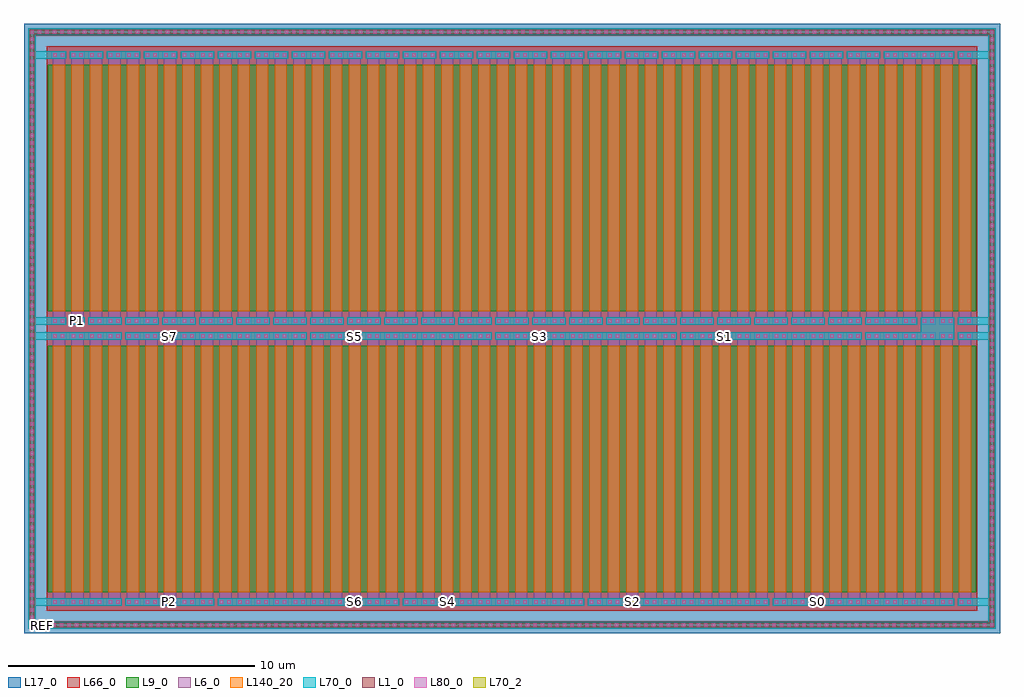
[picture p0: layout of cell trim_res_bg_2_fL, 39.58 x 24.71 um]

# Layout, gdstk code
from math import pi, radians
import gdstk
lib = gdstk.Library(unit=1e-6, precision=1e-09)
def R(c, l, rs):  # rectangles x0, y0, x1, y1
    for r in rs: c.add(gdstk.rectangle(r[:2], r[2:], *l))
def A(c, l, x, y, w, h, nx, ny, dx, dy):  # array of equal rectangles
    R(c, l, [(x+i*dx, y+j*dy, x+i*dx+w, y+j*dy+h) for i in range(nx) for j in range(ny)])
L1_0 = (1, 0)
L6_0 = (6, 0)
L9_0 = (9, 0)
L17_0 = (17, 0)
L66_0 = (66, 0)
L70_0 = (70, 0)
L70_2 = (70, 2)
L80_0 = (80, 0)
L140_20 = (140, 20)

contact_cdns_78158792569 = lib.new_cell('Contact_CDNS_781587925691')
R(contact_cdns_78158792569, L6_0, [(-0.02,-0.02,0.58,0.28)])
R(contact_cdns_78158792569, L70_0, [(-0.02,-0.02,0.58,0.28)])
R(contact_cdns_78158792569, L80_0, [(0.06,0.06,0.2,0.2), (0.36,0.06,0.5,0.2)])

rnpolyh_cdns_78158792569 = lib.new_cell('rnpolyh_CDNS_781587925690')
A(rnpolyh_cdns_78158792569, L6_0, 0, -0.24, 0.5, 0.24, 5, 2, 0.75, 10.24)
A(rnpolyh_cdns_78158792569, L6_0, 0, 0, 0.5, 10, 5, 1, 0.75, 0)
R(rnpolyh_cdns_78158792569, L9_0, [(-0.2,0,3.7,10)])
R(rnpolyh_cdns_78158792569, L17_0, [(-0.21,-0.7,3.71,10.7)])
R(rnpolyh_cdns_78158792569, L66_0, [(-0.25,-0.74,3.75,10.74)])
A(rnpolyh_cdns_78158792569, L70_0, -0.05, -0.54, 0.6, 0.3, 5, 2, 0.75, 10.78)
R(rnpolyh_cdns_78158792569, L70_0, [(-0.05,-0.54,3.55,-0.24), (-0.05,10.24,3.55,10.54)])
A(rnpolyh_cdns_78158792569, L140_20, 0, 0, 0.5, 10, 5, 1, 0.75, 0)
rnpolyh_cdns_78158792569.add(gdstk.Reference(contact_cdns_78158792569, (2.97,10.26)))
rnpolyh_cdns_78158792569.add(gdstk.Reference(contact_cdns_78158792569, (2.97,-0.52)))
rnpolyh_cdns_78158792569.add(gdstk.Reference(contact_cdns_78158792569, (2.22,10.26)))
rnpolyh_cdns_78158792569.add(gdstk.Reference(contact_cdns_78158792569, (2.22,-0.52)))
rnpolyh_cdns_78158792569.add(gdstk.Reference(contact_cdns_78158792569, (1.47,10.26)))
rnpolyh_cdns_78158792569.add(gdstk.Reference(contact_cdns_78158792569, (1.47,-0.52)))
rnpolyh_cdns_78158792569.add(gdstk.Reference(contact_cdns_78158792569, (0.72,10.26)))
rnpolyh_cdns_78158792569.add(gdstk.Reference(contact_cdns_78158792569, (0.72,-0.52)))
rnpolyh_cdns_78158792569.add(gdstk.Reference(contact_cdns_78158792569, (-0.03,10.26)))
rnpolyh_cdns_78158792569.add(gdstk.Reference(contact_cdns_78158792569, (-0.03,-0.52)))

c_rnpolyh_cdns_78158792569 = lib.new_cell('rnpolyh_CDNS_781587925692')
R(c_rnpolyh_cdns_78158792569, L6_0, [(0,-0.24,0.5,0), (0.75,-0.24,1.25,0), (0,0,0.5,10), (0.75,0,1.25,10), (0,10,0.5,10.24), (0.75,10,1.25,10.24)])
R(c_rnpolyh_cdns_78158792569, L9_0, [(-0.2,0,1.45,10)])
R(c_rnpolyh_cdns_78158792569, L17_0, [(-0.21,-0.7,1.46,10.7)])
R(c_rnpolyh_cdns_78158792569, L66_0, [(-0.25,-0.74,1.5,10.74)])
R(c_rnpolyh_cdns_78158792569, L70_0, [(-0.05,-0.54,0.55,-0.24), (-0.05,-0.54,1.3,-0.24), (0.7,-0.54,1.3,-0.24), (-0.05,10.24,0.55,10.54), (-0.05,10.24,1.3,10.54), (0.7,10.24,1.3,10.54)])
R(c_rnpolyh_cdns_78158792569, L140_20, [(0,0,0.5,10), (0.75,0,1.25,10)])
c_rnpolyh_cdns_78158792569.add(gdstk.Reference(contact_cdns_78158792569, (0.72,10.26)))
c_rnpolyh_cdns_78158792569.add(gdstk.Reference(contact_cdns_78158792569, (0.72,-0.52)))
c_rnpolyh_cdns_78158792569.add(gdstk.Reference(contact_cdns_78158792569, (-0.03,10.26)))
c_rnpolyh_cdns_78158792569.add(gdstk.Reference(contact_cdns_78158792569, (-0.03,-0.52)))

c_rnpolyh_cdns_78158792569_ = lib.new_cell('rnpolyh_CDNS_781587925693')
A(c_rnpolyh_cdns_78158792569_, L6_0, 0, -0.24, 0.5, 0.24, 44, 2, 0.75, 10.24)
A(c_rnpolyh_cdns_78158792569_, L6_0, 0, 0, 0.5, 10, 44, 1, 0.75, 0)
R(c_rnpolyh_cdns_78158792569_, L9_0, [(-0.2,0,32.95,10)])
R(c_rnpolyh_cdns_78158792569_, L17_0, [(-0.21,-0.7,32.96,10.7)])
R(c_rnpolyh_cdns_78158792569_, L66_0, [(-0.25,-0.74,33,10.74)])
A(c_rnpolyh_cdns_78158792569_, L70_0, -0.05, -0.54, 0.6, 0.3, 44, 2, 0.75, 10.78)
A(c_rnpolyh_cdns_78158792569_, L70_0, 0.7, -0.54, 1.35, 0.3, 21, 1, 1.5, 0)
A(c_rnpolyh_cdns_78158792569_, L70_0, -0.05, 10.24, 1.35, 0.3, 22, 1, 1.5, 0)
R(c_rnpolyh_cdns_78158792569_, L70_0, [(-0.05,-0.54,0.55,-0.24), (32.2,-0.54,32.8,-0.24)])
A(c_rnpolyh_cdns_78158792569_, L140_20, 0, 0, 0.5, 10, 44, 1, 0.75, 0)
c_rnpolyh_cdns_78158792569_.add(gdstk.Reference(contact_cdns_78158792569, (32.22,10.26)))
c_rnpolyh_cdns_78158792569_.add(gdstk.Reference(contact_cdns_78158792569, (32.22,-0.52)))
c_rnpolyh_cdns_78158792569_.add(gdstk.Reference(contact_cdns_78158792569, (31.47,10.26)))
c_rnpolyh_cdns_78158792569_.add(gdstk.Reference(contact_cdns_78158792569, (31.47,-0.52)))
c_rnpolyh_cdns_78158792569_.add(gdstk.Reference(contact_cdns_78158792569, (30.72,10.26)))
c_rnpolyh_cdns_78158792569_.add(gdstk.Reference(contact_cdns_78158792569, (30.72,-0.52)))
c_rnpolyh_cdns_78158792569_.add(gdstk.Reference(contact_cdns_78158792569, (29.97,10.26)))
c_rnpolyh_cdns_78158792569_.add(gdstk.Reference(contact_cdns_78158792569, (29.97,-0.52)))
c_rnpolyh_cdns_78158792569_.add(gdstk.Reference(contact_cdns_78158792569, (29.22,10.26)))
c_rnpolyh_cdns_78158792569_.add(gdstk.Reference(contact_cdns_78158792569, (29.22,-0.52)))
c_rnpolyh_cdns_78158792569_.add(gdstk.Reference(contact_cdns_78158792569, (28.47,10.26)))
c_rnpolyh_cdns_78158792569_.add(gdstk.Reference(contact_cdns_78158792569, (28.47,-0.52)))
c_rnpolyh_cdns_78158792569_.add(gdstk.Reference(contact_cdns_78158792569, (27.72,10.26)))
c_rnpolyh_cdns_78158792569_.add(gdstk.Reference(contact_cdns_78158792569, (27.72,-0.52)))
c_rnpolyh_cdns_78158792569_.add(gdstk.Reference(contact_cdns_78158792569, (26.97,10.26)))
c_rnpolyh_cdns_78158792569_.add(gdstk.Reference(contact_cdns_78158792569, (26.97,-0.52)))
c_rnpolyh_cdns_78158792569_.add(gdstk.Reference(contact_cdns_78158792569, (26.22,10.26)))
c_rnpolyh_cdns_78158792569_.add(gdstk.Reference(contact_cdns_78158792569, (26.22,-0.52)))
c_rnpolyh_cdns_78158792569_.add(gdstk.Reference(contact_cdns_78158792569, (25.47,10.26)))
c_rnpolyh_cdns_78158792569_.add(gdstk.Reference(contact_cdns_78158792569, (25.47,-0.52)))
c_rnpolyh_cdns_78158792569_.add(gdstk.Reference(contact_cdns_78158792569, (24.72,10.26)))
c_rnpolyh_cdns_78158792569_.add(gdstk.Reference(contact_cdns_78158792569, (24.72,-0.52)))
c_rnpolyh_cdns_78158792569_.add(gdstk.Reference(contact_cdns_78158792569, (23.97,10.26)))
c_rnpolyh_cdns_78158792569_.add(gdstk.Reference(contact_cdns_78158792569, (23.97,-0.52)))
c_rnpolyh_cdns_78158792569_.add(gdstk.Reference(contact_cdns_78158792569, (23.22,10.26)))
c_rnpolyh_cdns_78158792569_.add(gdstk.Reference(contact_cdns_78158792569, (23.22,-0.52)))
c_rnpolyh_cdns_78158792569_.add(gdstk.Reference(contact_cdns_78158792569, (22.47,10.26)))
c_rnpolyh_cdns_78158792569_.add(gdstk.Reference(contact_cdns_78158792569, (22.47,-0.52)))
c_rnpolyh_cdns_78158792569_.add(gdstk.Reference(contact_cdns_78158792569, (21.72,10.26)))
c_rnpolyh_cdns_78158792569_.add(gdstk.Reference(contact_cdns_78158792569, (21.72,-0.52)))
c_rnpolyh_cdns_78158792569_.add(gdstk.Reference(contact_cdns_78158792569, (20.97,10.26)))
c_rnpolyh_cdns_78158792569_.add(gdstk.Reference(contact_cdns_78158792569, (20.97,-0.52)))
c_rnpolyh_cdns_78158792569_.add(gdstk.Reference(contact_cdns_78158792569, (20.22,10.26)))
c_rnpolyh_cdns_78158792569_.add(gdstk.Reference(contact_cdns_78158792569, (20.22,-0.52)))
c_rnpolyh_cdns_78158792569_.add(gdstk.Reference(contact_cdns_78158792569, (19.47,10.26)))
c_rnpolyh_cdns_78158792569_.add(gdstk.Reference(contact_cdns_78158792569, (19.47,-0.52)))
c_rnpolyh_cdns_78158792569_.add(gdstk.Reference(contact_cdns_78158792569, (18.72,10.26)))
c_rnpolyh_cdns_78158792569_.add(gdstk.Reference(contact_cdns_78158792569, (18.72,-0.52)))
c_rnpolyh_cdns_78158792569_.add(gdstk.Reference(contact_cdns_78158792569, (17.97,10.26)))
c_rnpolyh_cdns_78158792569_.add(gdstk.Reference(contact_cdns_78158792569, (17.97,-0.52)))
c_rnpolyh_cdns_78158792569_.add(gdstk.Reference(contact_cdns_78158792569, (17.22,10.26)))
c_rnpolyh_cdns_78158792569_.add(gdstk.Reference(contact_cdns_78158792569, (17.22,-0.52)))
c_rnpolyh_cdns_78158792569_.add(gdstk.Reference(contact_cdns_78158792569, (16.47,10.26)))
c_rnpolyh_cdns_78158792569_.add(gdstk.Reference(contact_cdns_78158792569, (16.47,-0.52)))
c_rnpolyh_cdns_78158792569_.add(gdstk.Reference(contact_cdns_78158792569, (15.72,10.26)))
c_rnpolyh_cdns_78158792569_.add(gdstk.Reference(contact_cdns_78158792569, (15.72,-0.52)))
c_rnpolyh_cdns_78158792569_.add(gdstk.Reference(contact_cdns_78158792569, (14.97,10.26)))
c_rnpolyh_cdns_78158792569_.add(gdstk.Reference(contact_cdns_78158792569, (14.97,-0.52)))
c_rnpolyh_cdns_78158792569_.add(gdstk.Reference(contact_cdns_78158792569, (14.22,10.26)))
c_rnpolyh_cdns_78158792569_.add(gdstk.Reference(contact_cdns_78158792569, (14.22,-0.52)))
c_rnpolyh_cdns_78158792569_.add(gdstk.Reference(contact_cdns_78158792569, (13.47,10.26)))
c_rnpolyh_cdns_78158792569_.add(gdstk.Reference(contact_cdns_78158792569, (13.47,-0.52)))
c_rnpolyh_cdns_78158792569_.add(gdstk.Reference(contact_cdns_78158792569, (12.72,10.26)))
c_rnpolyh_cdns_78158792569_.add(gdstk.Reference(contact_cdns_78158792569, (12.72,-0.52)))
c_rnpolyh_cdns_78158792569_.add(gdstk.Reference(contact_cdns_78158792569, (11.97,10.26)))
c_rnpolyh_cdns_78158792569_.add(gdstk.Reference(contact_cdns_78158792569, (11.97,-0.52)))
c_rnpolyh_cdns_78158792569_.add(gdstk.Reference(contact_cdns_78158792569, (11.22,10.26)))
c_rnpolyh_cdns_78158792569_.add(gdstk.Reference(contact_cdns_78158792569, (11.22,-0.52)))
c_rnpolyh_cdns_78158792569_.add(gdstk.Reference(contact_cdns_78158792569, (10.47,10.26)))
c_rnpolyh_cdns_78158792569_.add(gdstk.Reference(contact_cdns_78158792569, (10.47,-0.52)))
c_rnpolyh_cdns_78158792569_.add(gdstk.Reference(contact_cdns_78158792569, (9.72,10.26)))
c_rnpolyh_cdns_78158792569_.add(gdstk.Reference(contact_cdns_78158792569, (9.72,-0.52)))
c_rnpolyh_cdns_78158792569_.add(gdstk.Reference(contact_cdns_78158792569, (8.97,10.26)))
c_rnpolyh_cdns_78158792569_.add(gdstk.Reference(contact_cdns_78158792569, (8.97,-0.52)))
c_rnpolyh_cdns_78158792569_.add(gdstk.Reference(contact_cdns_78158792569, (8.22,10.26)))
c_rnpolyh_cdns_78158792569_.add(gdstk.Reference(contact_cdns_78158792569, (8.22,-0.52)))
c_rnpolyh_cdns_78158792569_.add(gdstk.Reference(contact_cdns_78158792569, (7.47,10.26)))
c_rnpolyh_cdns_78158792569_.add(gdstk.Reference(contact_cdns_78158792569, (7.47,-0.52)))
c_rnpolyh_cdns_78158792569_.add(gdstk.Reference(contact_cdns_78158792569, (6.72,10.26)))
c_rnpolyh_cdns_78158792569_.add(gdstk.Reference(contact_cdns_78158792569, (6.72,-0.52)))
c_rnpolyh_cdns_78158792569_.add(gdstk.Reference(contact_cdns_78158792569, (5.97,10.26)))
c_rnpolyh_cdns_78158792569_.add(gdstk.Reference(contact_cdns_78158792569, (5.97,-0.52)))
c_rnpolyh_cdns_78158792569_.add(gdstk.Reference(contact_cdns_78158792569, (5.22,10.26)))
c_rnpolyh_cdns_78158792569_.add(gdstk.Reference(contact_cdns_78158792569, (5.22,-0.52)))
c_rnpolyh_cdns_78158792569_.add(gdstk.Reference(contact_cdns_78158792569, (4.47,10.26)))
c_rnpolyh_cdns_78158792569_.add(gdstk.Reference(contact_cdns_78158792569, (4.47,-0.52)))
c_rnpolyh_cdns_78158792569_.add(gdstk.Reference(contact_cdns_78158792569, (3.72,10.26)))
c_rnpolyh_cdns_78158792569_.add(gdstk.Reference(contact_cdns_78158792569, (3.72,-0.52)))
c_rnpolyh_cdns_78158792569_.add(gdstk.Reference(contact_cdns_78158792569, (2.97,10.26)))
c_rnpolyh_cdns_78158792569_.add(gdstk.Reference(contact_cdns_78158792569, (2.97,-0.52)))
c_rnpolyh_cdns_78158792569_.add(gdstk.Reference(contact_cdns_78158792569, (2.22,10.26)))
c_rnpolyh_cdns_78158792569_.add(gdstk.Reference(contact_cdns_78158792569, (2.22,-0.52)))
c_rnpolyh_cdns_78158792569_.add(gdstk.Reference(contact_cdns_78158792569, (1.47,10.26)))
c_rnpolyh_cdns_78158792569_.add(gdstk.Reference(contact_cdns_78158792569, (1.47,-0.52)))
c_rnpolyh_cdns_78158792569_.add(gdstk.Reference(contact_cdns_78158792569, (0.72,10.26)))
c_rnpolyh_cdns_78158792569_.add(gdstk.Reference(contact_cdns_78158792569, (0.72,-0.52)))
c_rnpolyh_cdns_78158792569_.add(gdstk.Reference(contact_cdns_78158792569, (-0.03,10.26)))
c_rnpolyh_cdns_78158792569_.add(gdstk.Reference(contact_cdns_78158792569, (-0.03,-0.52)))

c_rnpolyh_cdns_78158792569__ = lib.new_cell('rnpolyh_CDNS_781587925694')
R(c_rnpolyh_cdns_78158792569__, L6_0, [(0,-0.24,0.5,0), (0,0,0.5,10), (0,10,0.5,10.24)])
R(c_rnpolyh_cdns_78158792569__, L9_0, [(-0.2,0,0.7,10)])
R(c_rnpolyh_cdns_78158792569__, L17_0, [(-0.21,-0.7,0.71,10.7)])
R(c_rnpolyh_cdns_78158792569__, L66_0, [(-0.25,-0.74,0.75,10.74)])
R(c_rnpolyh_cdns_78158792569__, L70_0, [(-0.05,-0.54,0.55,-0.24), (-0.05,-0.54,0.55,-0.24), (-0.05,10.24,0.55,10.54), (-0.05,10.24,0.55,10.54)])
R(c_rnpolyh_cdns_78158792569__, L140_20, [(0,0,0.5,10)])
c_rnpolyh_cdns_78158792569__.add(gdstk.Reference(contact_cdns_78158792569, (-0.03,10.26)))
c_rnpolyh_cdns_78158792569__.add(gdstk.Reference(contact_cdns_78158792569, (-0.03,-0.52)))

trim_res_bg_2_fl = lib.new_cell('trim_res_bg_2_fL')
R(trim_res_bg_2_fl, L17_0, [(0.06,0.085,39.495,24.64)])
A(trim_res_bg_2_fl, L70_2, 17.09, 1.19, 0.15, 0.15, 3, 1, 7.5, 0)
A(trim_res_bg_2_fl, L70_2, 5.84, 11.97, 0.15, 0.15, 4, 1, 7.5, 0)
R(trim_res_bg_2_fl, L70_2, [(0.695,0.25,0.845,0.4), (5.84,1.19,5.99,1.34), (13.34,1.19,13.49,1.34), (2.09,12.59,2.24,12.74)])
A(trim_res_bg_2_fl, L80_0, 0.255, 0.255, 0.14, 0.14, 84, 1, 0.3, 0)
A(trim_res_bg_2_fl, L80_0, 25.46, 0.255, 0.14, 0.14, 46, 1, 0.305, 0)
A(trim_res_bg_2_fl, L80_0, 39.185, 0.555, 0.14, 0.14, 1, 68, 0, 0.3)
A(trim_res_bg_2_fl, L80_0, 0.255, 0.56, 0.14, 0.14, 1, 12, 0, 0.305)
A(trim_res_bg_2_fl, L80_0, 0.255, 4.215, 0.14, 0.14, 1, 67, 0, 0.3)
A(trim_res_bg_2_fl, L80_0, 39.185, 20.96, 0.14, 0.14, 1, 11, 0, 0.305)
A(trim_res_bg_2_fl, L80_0, 0.255, 24.315, 0.14, 0.14, 24, 1, 0.305, 0)
A(trim_res_bg_2_fl, L80_0, 7.57, 24.315, 0.14, 0.14, 42, 1, 0.3, 0)
A(trim_res_bg_2_fl, L80_0, 20.175, 24.315, 0.14, 0.14, 23, 1, 0.305, 0)
A(trim_res_bg_2_fl, L80_0, 27.185, 24.315, 0.14, 0.14, 41, 1, 0.3, 0)
trim_res_bg_2_fl.add(gdstk.FlexPath([(1.715,12.665),(0.325,12.665)], 0.3, ends="flush", simple_path=True, layer=70, datatype=0))  # L70_0
trim_res_bg_2_fl.add(gdstk.FlexPath([(3.965,12.045),(0.325,12.045)], 0.3, ends="flush", simple_path=True, layer=70, datatype=0))  # L70_0
trim_res_bg_2_fl.add(gdstk.FlexPath([(11.465,12.045),(4.115,12.045)], 0.3, ends="flush", simple_path=True, layer=70, datatype=0))  # L70_0
trim_res_bg_2_fl.add(gdstk.FlexPath([(15.215,1.265),(7.865,1.265)], 0.3, ends="flush", simple_path=True, layer=70, datatype=0))  # L70_0
trim_res_bg_2_fl.add(gdstk.FlexPath([(18.965,12.045),(11.615,12.045)], 0.3, ends="flush", simple_path=True, layer=70, datatype=0))  # L70_0
trim_res_bg_2_fl.add(gdstk.FlexPath([(34.865,23.445),(37.715,23.445)], 0.3, ends="flush", simple_path=True, layer=70, datatype=0))  # L70_0
trim_res_bg_2_fl.add(gdstk.FlexPath([(34.115,12.665),(36.215,12.665)], 0.3, ends="flush", simple_path=True, layer=70, datatype=0))  # L70_0
trim_res_bg_2_fl.add(gdstk.FlexPath([(22.715,1.265),(15.365,1.265)], 0.3, ends="flush", simple_path=True, layer=70, datatype=0))  # L70_0
trim_res_bg_2_fl.add(gdstk.FlexPath([(3.965,1.265),(0.325,1.265)], 0.3, ends="flush", simple_path=True, layer=70, datatype=0))  # L70_0
trim_res_bg_2_fl.add(gdstk.FlexPath([(30.215,1.265),(22.865,1.265)], 0.3, ends="flush", simple_path=True, layer=70, datatype=0))  # L70_0
trim_res_bg_2_fl.add(gdstk.FlexPath([(26.465,12.045),(19.115,12.045)], 0.3, ends="flush", simple_path=True, layer=70, datatype=0))  # L70_0
trim_res_bg_2_fl.add(gdstk.FlexPath([(37.865,23.445),(39.255,23.445)], 0.3, ends="flush", simple_path=True, layer=70, datatype=0))  # L70_0
trim_res_bg_2_fl.add(gdstk.FlexPath([(37.865,12.665),(39.255,12.665)], 0.3, ends="flush", simple_path=True, layer=70, datatype=0))  # L70_0
trim_res_bg_2_fl.add(gdstk.FlexPath([(33.965,12.045),(26.615,12.045)], 0.3, ends="flush", simple_path=True, layer=70, datatype=0))  # L70_0
trim_res_bg_2_fl.add(gdstk.FlexPath([(37.715,1.265),(30.365,1.265)], 0.3, ends="flush", simple_path=True, layer=70, datatype=0))  # L70_0
trim_res_bg_2_fl.add(gdstk.FlexPath([(37.865,12.045),(39.255,12.045)], 0.3, ends="flush", simple_path=True, layer=70, datatype=0))  # L70_0
trim_res_bg_2_fl.add(gdstk.FlexPath([(37.04,12.815),(37.04,11.895)], 1.35, ends="flush", simple_path=True, layer=70, datatype=0))  # L70_0
trim_res_bg_2_fl.add(gdstk.FlexPath([(37.865,1.265),(39.255,1.265)], 0.3, ends="flush", simple_path=True, layer=70, datatype=0))  # L70_0
trim_res_bg_2_fl.add(gdstk.FlexPath([(1.715,23.445),(0.325,23.445)], 0.3, ends="flush", simple_path=True, layer=70, datatype=0))  # L70_0
trim_res_bg_2_fl.add(gdstk.FlexPath([(19.79,24.385),(39.255,24.385),(39.255,0.325),(0.325,0.325),(0.325,24.385),(19.79,24.385)], 0.29, ends="flush", simple_path=True, layer=70, datatype=0))  # L70_0
trim_res_bg_2_fl.add(gdstk.FlexPath([(19.79,24.385),(39.255,24.385),(39.255,0.325),(0.325,0.325),(0.325,24.385),(19.79,24.385)], 0.3, ends="flush", simple_path=True, layer=66, datatype=0))  # L66_0
trim_res_bg_2_fl.add(gdstk.FlexPath([(19.79,24.385),(39.255,24.385),(39.255,0.325),(0.325,0.325),(0.325,24.385),(19.79,24.385)], 0.65, ends="flush", simple_path=True, layer=17, datatype=0))  # L17_0
trim_res_bg_2_fl.add(gdstk.FlexPath([(19.79,24.385),(39.255,24.385),(39.255,0.325),(0.325,0.325),(0.325,24.385),(19.79,24.385)], 0.18, ends="flush", simple_path=True, layer=1, datatype=0))  # L1_0
trim_res_bg_2_fl.add(gdstk.Reference(rnpolyh_cdns_78158792569, (7.665,11.655), rotation=pi))
trim_res_bg_2_fl.add(gdstk.Reference(rnpolyh_cdns_78158792569, (11.415,1.655), rotation=pi, x_reflection=True))
trim_res_bg_2_fl.add(gdstk.Reference(rnpolyh_cdns_78158792569, (15.165,11.655), rotation=pi))
trim_res_bg_2_fl.add(gdstk.Reference(rnpolyh_cdns_78158792569, (18.915,1.655), rotation=pi, x_reflection=True))
trim_res_bg_2_fl.add(gdstk.Reference(rnpolyh_cdns_78158792569, (22.665,11.655), rotation=pi))
trim_res_bg_2_fl.add(gdstk.Reference(rnpolyh_cdns_78158792569, (30.165,11.655), rotation=pi))
trim_res_bg_2_fl.add(gdstk.Reference(rnpolyh_cdns_78158792569, (33.915,1.655), rotation=pi, x_reflection=True))
trim_res_bg_2_fl.add(gdstk.Reference(rnpolyh_cdns_78158792569, (37.665,11.655), rotation=pi))
trim_res_bg_2_fl.add(gdstk.Reference(rnpolyh_cdns_78158792569, (26.415,1.655), rotation=pi, x_reflection=True))
trim_res_bg_2_fl.add(gdstk.Reference(c_rnpolyh_cdns_78158792569, (34.915,13.055)))
trim_res_bg_2_fl.add(gdstk.Reference(c_rnpolyh_cdns_78158792569, (36.415,23.055), x_reflection=True))
trim_res_bg_2_fl.add(gdstk.Reference(c_rnpolyh_cdns_78158792569_, (1.915,13.055)))
trim_res_bg_2_fl.add(gdstk.Reference(c_rnpolyh_cdns_78158792569__, (3.915,1.655), rotation=pi, x_reflection=True))
trim_res_bg_2_fl.add(gdstk.Reference(c_rnpolyh_cdns_78158792569__, (3.165,1.655), rotation=pi, x_reflection=True))
trim_res_bg_2_fl.add(gdstk.Reference(c_rnpolyh_cdns_78158792569__, (2.415,1.655), rotation=pi, x_reflection=True))
trim_res_bg_2_fl.add(gdstk.Reference(c_rnpolyh_cdns_78158792569__, (1.665,1.655), rotation=pi, x_reflection=True))
trim_res_bg_2_fl.add(gdstk.Reference(c_rnpolyh_cdns_78158792569__, (37.915,13.055)))
trim_res_bg_2_fl.add(gdstk.Reference(c_rnpolyh_cdns_78158792569__, (38.415,1.655), rotation=pi, x_reflection=True))
trim_res_bg_2_fl.add(gdstk.Reference(c_rnpolyh_cdns_78158792569__, (1.165,13.055)))
trim_res_bg_2_fl.add(gdstk.Label('REF', (0.77,0.325), layer=70, texttype=2))
trim_res_bg_2_fl.add(gdstk.Label('S7', (5.915,12.045), layer=70, texttype=2))
trim_res_bg_2_fl.add(gdstk.Label('S6', (13.415,1.265), layer=70, texttype=2))
trim_res_bg_2_fl.add(gdstk.Label('S5', (13.415,12.045), layer=70, texttype=2))
trim_res_bg_2_fl.add(gdstk.Label('S4', (17.165,1.265), layer=70, texttype=2))
trim_res_bg_2_fl.add(gdstk.Label('S3', (20.915,12.045), layer=70, texttype=2))
trim_res_bg_2_fl.add(gdstk.Label('S2', (24.665,1.265), layer=70, texttype=2))
trim_res_bg_2_fl.add(gdstk.Label('S1', (28.415,12.045), layer=70, texttype=2))
trim_res_bg_2_fl.add(gdstk.Label('S0', (32.165,1.265), layer=70, texttype=2))
trim_res_bg_2_fl.add(gdstk.Label('P2', (5.915,1.265), layer=70, texttype=2))
trim_res_bg_2_fl.add(gdstk.Label('P1', (2.165,12.665), layer=70, texttype=2))

lib.write_gds('trim_res_bg_2_fL.gds')
